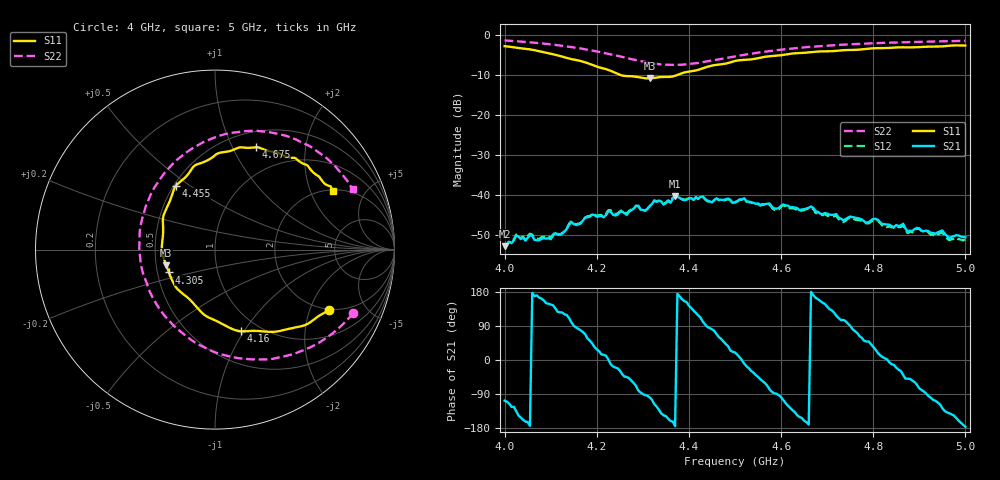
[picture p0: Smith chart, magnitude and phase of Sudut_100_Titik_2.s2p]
# Hz S RI R 50
! CMT, C1220, 16058040, 17.2.0/1
! Date: 15/08/2018 11:41:03
! Data: Format (Calibration Info)
! Freq  S11: Re/Im (F2)  S21: Re/Im (F2)  S12: Re/Im (F2)  S22: Re/Im (F2)
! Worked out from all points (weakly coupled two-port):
!   201 points, 4 GHz to 5 GHz, reference 50 ohm
!   highest |S21| = -40.30 dB at 4.37 GHz (marker M1); lowest = -52.7 dB at 4 GHz (marker M2)
!   lowest |S11| = -10.9 dB at 4.315 GHz (marker M3), VSWR 1.80, Z = 28.3 - j5.4 ohm
!   |S11| at or under -10 dB: 4.25 GHz to 4.376 GHz (125.8 MHz wide, 2.92 % of centre)
!   |S22| runs from -7.5 to -1.4 dB; largest |S21 - S12| = 0.00035
!   S11 on the Smith chart (normalised r, x): 4 GHz: 1.96, -2.74; 4.16 GHz: 0.82, -0.97; 4.305 GHz: 0.58, -0.16; 4.455 GHz: 0.51, +0.44; 4.675 GHz: 0.68, +1.24; 5 GHz: 2.08, +2.91
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4e9  0.6356 -0.3363  -0.000685 -0.0022  -0.000617 -0.00229  0.7701 -0.3536
4.025e9  0.582 -0.3674  -0.00221 -0.00222  -0.00213 -0.0024  0.7221 -0.407
4.1e9  0.3595 -0.4538  -0.00234 0.00156  -0.0024 0.00167  0.5238 -0.5474
4.145e9  0.2016 -0.4528  -0.000754 0.00457  -0.000879 0.00467  0.3608 -0.5996
4.16e9  0.1443 -0.455  0.000596 0.00427  0.000542 0.0044  0.3014 -0.6106
4.17e9  0.1102 -0.4477  0.00136 0.00464  0.00127 0.00474  0.2608 -0.6122
4.225e9  -0.0667 -0.3575  0.00626 0.000172  0.00649 0.000267  0.0172 -0.5784
4.265e9  -0.1781 -0.2472  0.00403 -0.00398  0.00413 -0.00416  -0.1523 -0.4883
4.285e9  -0.2279 -0.1929  0.00273 -0.00677  0.00269 -0.00688  -0.2303 -0.4239
4.305e9  -0.2566 -0.1273  -0.000316 -0.00638  -0.000316 -0.00638  -0.2958 -0.3491
4.315e9  -0.2713 -0.0877  -0.00115 -0.00717  -0.00114 -0.00725  -0.3249 -0.3062
4.335e9  -0.2946 -0.0205  -0.00564 -0.00632  -0.0057 -0.00639  -0.3715 -0.2138
4.36e9  -0.2912 0.0654  -0.0076 -0.00263  -0.00777 -0.00269  -0.4106 -0.0923
4.37e9  -0.2889 0.1049  -0.00962 -0.000933  -0.00995 -0.000822  -0.4174 -0.0441
4.455e9  -0.2188 0.3545  0.00196 0.0085  0.00214 0.0084  -0.3393 0.3432
4.5e9  -0.1285 0.4512  0.0077 0.00279  0.00758 0.00271  -0.2246 0.4879
4.52e9  -0.0995 0.4751  0.009 -0.00151  0.00883 -0.00166  -0.1674 0.5352
4.585e9  0.0429 0.5422  0.000253 -0.00679  0.000172 -0.00656  0.0274 0.6356
4.67e9  0.2191 0.5684  -0.00685 0.00108  -0.00659 0.00117  0.2619 0.6582
4.675e9  0.2272 0.5695  -0.00604 0.00171  -0.00572 0.00172  0.2741 0.6581
4.835e9  0.4858 0.4814  0.00426 -0.000445  0.00406 -0.000344  0.5877 0.535
5e9  0.6566 0.3245  -0.00297 -0.000187  -0.00278 -0.000272  0.7675 0.3353
